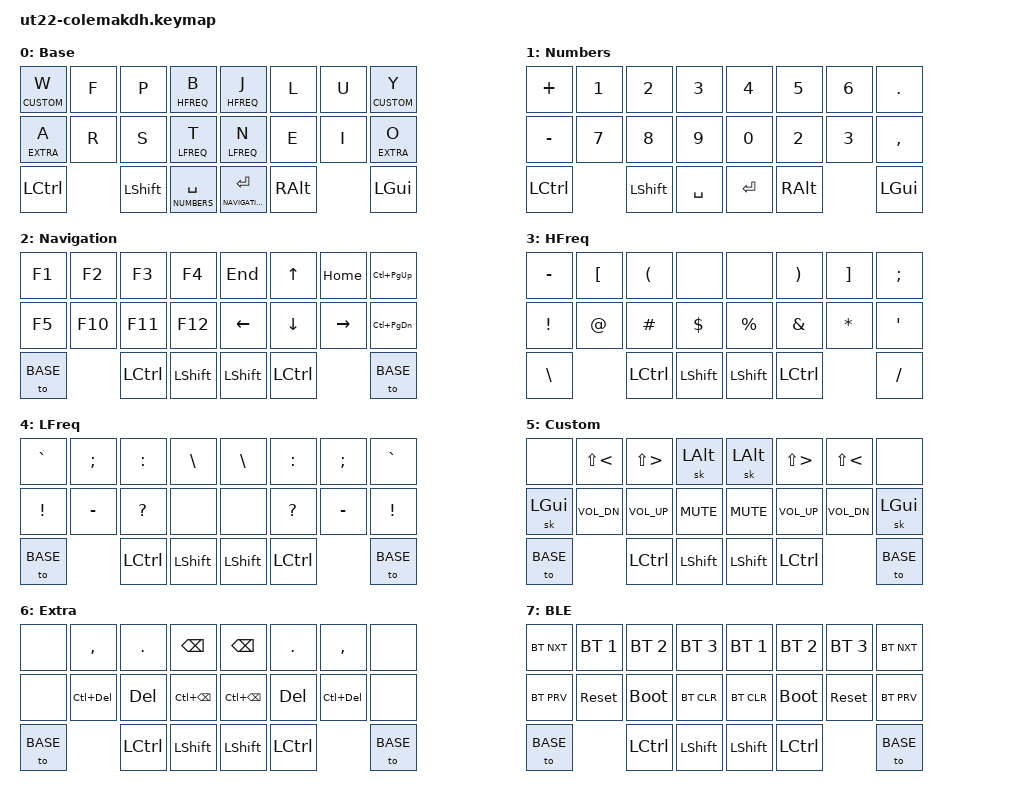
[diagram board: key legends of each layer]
/*
 * SPDX-License-Identifier: MIT
 */

#include <behaviors.dtsi>
#include <dt-bindings/zmk/keys.h>
#include <dt-bindings/zmk/bt.h>
#include <dt-bindings/zmk/outputs.h>


// LAYERS
// ====================================================
#define BASE    	0
#define NUMBERS 	1
#define NAVIGATION 	2
#define HFREQ 		3
#define LFREQ 		4
#define CUSTOM 		5
#define EXTRA		6
#define BLE		7


// Using layer taps on thumbs, having quick tap as well helps w/ repeating space/backspace
&lt { quick_tap_ms = <200>; };
// Sticky Layer Behavior - release sticky behavior after x ms
&sk { release-after-ms = <1800>; };

// TAIPO DEFINITIONS (use in conjunction with TAIPO COMBOS)
// ====================================================
// ZMK forces you to define combos in terms of HW key positions
/*
	.-----------------------------------------------------------.
	|  0  |  1  |  2  |  3  |           |  4  |  5  |  6  |  7  |
	|  8  |  9  |  10 |  11 |           |  12 |  13 |  14 |  15 |
	|  16 |-----|  17 |  18 |           |  19 |  20 |-----|  21 |
	'-----'     '-----------------------------------'     '-----'
*/
// {Top,Bottom}{Left,Right}{Index,Middle,Ring,Pinky}

// LEFT SIDE
// Top
#define LTI 3  // Index
#define LTM 2  // Middle
#define LTR 1  // Ring
#define LTP 0  // Pinky
// Bottom
#define LBI 11 // Index
#define LBM 10 // Middle
#define LBR 9  // Ring
#define LBP 8  // Pinky

// RIGHT SIDE
// Top
#define RTI 4  // Index
#define RTM 5  // Middle
#define RTR 6  // Ring
#define RTP 7  // Pinky
// Bottom
#define RBI 12 // Index
#define RBM 13 // Middle
#define RBR 14 // Ring
#define RBP 15 // Pinky

// BEHAVIOR
// ====================================================

/{
	behaviors {
		// Enables holding the first mod-tap key
		// by performing a tap-release-hold sequence.
		// To use it: "&qt KEYCODE1 KEYCODE2"
		qt: quick_tap {
			compatible = "zmk,behavior-hold-tap";
			label = "QUICK_TAP";
			#binding-cells = <2>;
			flavor = "hold-preferred";
			tapping-term-ms = <200>;
			quick-tap-ms = <200>;
			bindings = <&kp>, <&kp>;
		};
	};


// COMBOS
// ====================================================
/*
	.-----------------------------------------------------------.
	|  0  |  1  |  2  |  3  |           |  4  |  5  |  6  |  7  |
	|  8  |  9  |  10 |  11 |           |  12 |  13 |  14 |  15 |
	|  16 |-----|  17 |  18 |           |  19 |  20 |-----|  21 |
	'-----'     '-----------------------------------'     '-----'
*/
// ARTSEY COMBOS
// name of the combo, output of the combo, input for the combo, applied on which layers
	#define COMBO(NAME, BINDINGS, KEYPOS, LAYER) \
	combo_##NAME { \
		timeout-ms = <120>; \
		bindings = <BINDINGS>; \
		key-positions = <KEYPOS>; \
		layers = <LAYER>; \
	};

   combos {
        compatible = "zmk,combos";
		// LEFT SIDE
		/***************
		* 2 key combos
		****************/
		COMBO(L1,&kp ENTER,LTI LBI,0 1 2 3 4 5 6)		// ENTER
		COMBO(L2,&sk LCTRL,LBI LTP, 0 1 2 3 4 5 6)		// LCTRL *oneshot
		COMBO(L3,&sk LGUI,LBM LTP, 0 1 2 3 4 5 6)		// LGUI  *oneshot
		COMBO(L4,&sk RALT,LBR LTP, 0 1 2 3 4 5 6)		// RALT  *oneshot
		COMBO(L5,&kp BACKSPACE,LBI LTM, 0 1 2 3 4 5 6)		// BACKSPACE
		COMBO(L6,&kp DELETE,LBR LTM, 0 1 2 3 4 5 6)		// DELETE
		COMBO(L7,&kt LSHFT,LBM LTM, 0 1 2 3 4 5 6)		// LSHIFT #toggle

		COMBO(L8,&kp Q,LTP LTR, 0)				//Q
		COMBO(L9,&kp G,LBM LBI, 0)				//G
		COMBO(L10,&kp Z,LBP LBR, 0)				//Z
		COMBO(L11,&kp C,LBR LBM, 0)				//C

		/***************
		* 3 key combos
		****************/
		COMBO(L12,&kp X,LBP LBR LBM, 0)				//X
		COMBO(L13,&kp D,LBR LBM LBI, 0)				//D
		

		/***************
		* 4 key combos
		****************/

		COMBO(L39,&kp TAB,LTP LTR LTM LTI,0 1 2 3 4 5 6)		// TAB
		COMBO(L41,&tog BLE,LTP LBP LTI LBI,0 1 2 3 4 5 6)		// LAYER: BLUETOOTH #toggle

		// RIGHT SIDE
		/***************
		* 2 key combos
		****************/
		COMBO(R1,&kp BACKSPACE, RTR RTP, 0 1 2 3 4 5 6)		//BACKSPACE
		COMBO(R2,&kp M, RBI RBM, 0)				//M
		COMBO(R3,&kp V, RBM RBR, 0)				//V
		COMBO(R4,&kp H, RBR RBP, 0)				//H

		/***************
		* 3 key combos
		****************/
		COMBO(R5,&kp K, RBM RBR RBP, 0)				//K
		COMBO(R6,&kp ESC,RBI RTR RTP, 0 1 2 3 4 5 6)		//ESC
		/***************
		* 4 key combos
		****************/

   };

// KEYMAP
// ====================================================

/*  0 = Base
	.-----------------------------------------------------------.
	|  W  |  F  |  P  |  B  |           |  J  |  L  |  U  |  Y  |
	|  A  |  R  |  S  |  T  |           |  N  |  E  |  I  |  O  |
	|LCTRL|-----|LSHFT|SPACE|           |ENTER|LALT |-----| LGUI|
	'-----'     '-----------------------------------'     '-----'
*/
	keymap {
		compatible = "zmk,keymap";

		// LAYER: BASE 0
		default_layer {
			label = "Base";
			bindings = <
			&lt CUSTOM W	&kp F       &kp P       &lt HFREQ B    &lt HFREQ J &kp L      	&kp U       &lt CUSTOM Y
			&lt EXTRA A	&kp R       &kp S	&lt LFREQ T    &lt LFREQ N &kp E  	&kp I       &lt EXTRA O
			&kp LCTRL               &kp LSHIFT   &lt NUMBERS SPACE      &lt NAVIGATION ENTER  &kp RALT		    &kp LGUI
			>;
		};

// -----------------------------------------------------------------------------

/*  1 = Numbers
	.-----------------------------------------------------------.
	|  +  |  1  |  2  |  3  |           |  4  |  5  |  6  |  .  |
	|  -  |  7  |  8  |  9  |           |  0  |     |     |  ,  |
	|LCTRL|-----|LSHFT|SPACE|           |ENTER|LALT |-----| LGUI|
	'-----'     '-----------------------------------'     '-----'
*/
        // LAYER: NUMBERS 1
		numbers_layer {
			label = "Numbers";
			bindings = <
			&kp PLUS    &kp N1      &kp N2      &kp N3         &kp N4      &kp N5      &kp N6      &kp PERIOD
			&kp MINUS   &kp N7      &kp N8      &kp N9         &kp N0     &kp N2      &kp N3      &kp COMMA
			&kp LCTRL               &kp LSHIFT  &kp SPACE      &kp ENTER   &kp RALT                &kp LGUI     
			>;
		};
// -----------------------------------------------------------------------------

/*  2 = Navigation
	.-----------------------------------------------------------.
	|  F1 |  F2 |  F3 |  F4 |           |  4  |  5  |  6  |  7  |
	|  F5 |  F10|  F11|  F12|           |  12 |  13 |  14 |  15 |
	|  16 |-----|  17 |  18 |           |  19 |  20 |-----|  21 |
	'-----'     '-----------------------------------'     '-----'
*/
        // LAYER: NAVIGATION 2
		navigation_layer {
			label = "Navigation";
			bindings = <
			&kp F1     &kp F2       &kp F3      &kp F4         &kp END        &kp UP      &kp HOME    &kp LC(PG_UP)
			&kp F5     &kp F10      &kp F11     &kp F12        &kp LEFT       &kp DOWN    &kp RIGHT   &kp LC(PG_DN)
			&to BASE                &kp LCTRL   &kp LSHIFT     &kp LSHIFT     &kp LCTRL               &to BASE     
			>;
		};
// -----------------------------------------------------------------------------

/*  3 = High Frequency
	.-----------------------------------------------------------.
	|  -  | {[  |  (  |     |           |     |  )  |  ]} |  ;  |
	|  !  |  @  |  #  |  $  |           |  %  |  &  |  *  |  '  |
	|  \  |-----|  17 |  18 |           |  19 |  20 |-----|  /  |
	'-----'     '-----------------------------------'     '-----'
*/
        // LAYER: HFREQ 3
		hfreq_layer {
			label = "HFreq";
			bindings = <
			&kp MINUS   &kp LBKT  &kp LPAR    &none        &none       &kp RPAR    &kp RBKT   &kp SEMI 
			&kp EXCL    &kp AT    &kp HASH    &kp DLLR     &kp PRCNT   &kp AMPS    &kp ASTRK  &kp APOS
			&kp BSLH              &kp LCTRL   &kp LSHIFT   &kp LSHIFT  &kp LCTRL              &kp FSLH     
			>;
		};
// -----------------------------------------------------------------------------

/*  4 = Low Frequency
	.-----------------------------------------------------------.
	|  0  |  1  |  2  |  3  |           |  4  |  5  |  6  |  7  |
	|  8  |  9  |  10 |  11 |           |  12 |  13 |  14 |  15 |
	|  16 |-----|  17 |  18 |           |  19 |  20 |-----|  21 |
	'-----'     '-----------------------------------'     '-----'
*/
        // LAYER: LFREQ 4
		lfreq_layer {
			label = "LFreq";
			bindings = <
			&kp GRAVE   &kp SEMI    &kp COLON   &kp BSLH    &kp BSLH    &kp COLON   &kp SEMI   &kp GRAVE 
			&kp EXCL    &kp MINUS   &kp QMARK   &none       &none       &kp QMARK   &kp MINUS  &kp EXCL
			&to BASE              &kp LCTRL   &kp LSHIFT    &kp LSHIFT  &kp LCTRL              &to BASE     
			>;
		};
// -----------------------------------------------------------------------------

/*  5 = Media
	.-----------------------------------------------------------.
	|  0  |  1  |  2  |  3  |           |  4  |  5  |  6  |  7  |
	|  8  |  9  |  10 |  11 |           |  12 |  13 |  14 |  15 |
	|  16 |-----|  17 |  18 |           |  19 |  20 |-----|  21 |
	'-----'     '-----------------------------------'     '-----'
*/
        // LAYER: CUSTOM 5
		custom_layer {
			label = "Custom";
			bindings = <
			&none  		&kp LS(LT)    	&kp LS(GT)     	&sk LALT        &sk LALT    &kp LS(GT)   &kp LS(LT)     &none
			&sk LGUI	&kp C_VOL_DN    &kp C_VOL_UP    &kp C_MUTE      &kp C_MUTE  &kp C_VOL_UP &kp C_VOL_DN   &sk LGUI
			&to BASE                    &kp LCTRL       &kp LSHIFT      &kp LSHIFT  &kp LCTRL                   &to BASE     
			>;
		};
// -----------------------------------------------------------------------------

/*  6 = Extras
	.-----------------------------------------------------------.
	|  0  |  1  |  2  |  3  |           |  4  |  5  |  6  |  7  |
	|  8  |  9  |  10 |  11 |           |  12 |  13 |  14 |  15 |
	|  16 |-----|  17 |  18 |           |  19 |  20 |-----|  21 |
	'-----'     '-----------------------------------'     '-----'
*/
        // LAYER: EXTRA 6
		extra_layer {
			label = "Extra";
			bindings = <
			&none		&kp COMMA  	    &kp PERIOD	&kp BACKSPACE           &kp BACKSPACE       &kp PERIOD    &kp COMMA     &none
			&none 		&kp LC(DEL) 	&kp DEL 	&kp LC(BACKSPACE)       &kp LC(BACKSPACE)   &kp DEL       &kp LC(DEL)   &none
			&to BASE                    &kp LCTRL   &kp LSHIFT              &kp LSHIFT  &kp LCTRL                           &to BASE     
			>;
		};
// -----------------------------------------------------------------------------

/*  7 = Bluetooth
	.-----------------------------------------------------------.
	|  0  |  1  |  2  |  3  |           |  4  |  5  |  6  |  7  |
	|  8  |  9  |  10 |  11 |           |  12 |  13 |  14 |  15 |
	|  16 |-----|  17 |  18 |           |  19 |  20 |-----|  21 |
	'-----'     '-----------------------------------'     '-----'
*/
        // LAYER: BLUETOOTH 7
		ble_layer {
			label = "BLE";
			bindings = <
			&bt BT_NXT       &bt BT_SEL 1   &bt BT_SEL 2     &bt BT_SEL 3     &bt BT_SEL 1     &bt BT_SEL 2    &bt BT_SEL 3    &bt BT_NXT
			&bt BT_PRV       &sys_reset    	&bootloader	 &bt BT_CLR           &bt BT_CLR       &bootloader     &sys_reset      &bt BT_PRV 
			&to BASE                        &kp LCTRL   &kp LSHIFT            &kp LSHIFT       &kp LCTRL                       &to BASE     
			>;
		};
// -----------------------------------------------------------------------------

// -----------------------------------------------------------------------------
    };
};
